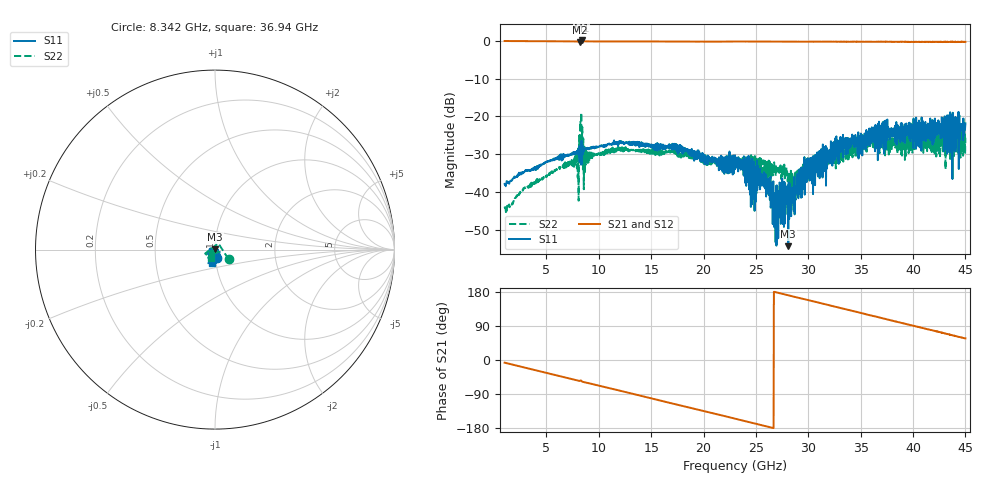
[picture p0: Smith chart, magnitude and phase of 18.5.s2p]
!Keysight Technologies,N5247B,MY61255062,A.19.80.06
!Date: Tuesday, May 26, 2026 11:53:32
!Correction: S11(C  2-Port  )
!S21(C  2-Port  )
!S12(C  2-Port  )
!S22(C  2-Port  )
!S2P File: Measurements: S11, S21, S12, S22:
# Hz S  dB  R 50
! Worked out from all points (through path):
!   1601 points, 1 GHz to 45 GHz, reference 50 ohm
!   highest |S21| = 0.06 dB at 8.342 GHz (marker M1); lowest = -0.4 dB at 8.205 GHz (marker M2)
!   group delay of S21, straight-line fit = 18.7 ps
!   lowest |S11| = -54.3 dB at 28.09 GHz (marker M3), VSWR 1.00, Z = 50 + j0.192 ohm
!   |S11| at or under -10 dB: start of sweep to end of sweep
!   |S22| runs from -45.5 to -19.0 dB; largest |S21 - S12| = 0.017
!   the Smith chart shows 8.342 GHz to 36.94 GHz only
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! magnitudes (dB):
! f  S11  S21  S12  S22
! 1 GHz  -37.9  -0.1  -0.1  -43.9
! 2.98 GHz  -34.3  -0.1  -0.1  -38.9
! 7.848 GHz  -29.9  -0.2  -0.2  -30.0
! 8.205 GHz  -27.9  -0.4  -0.4  -21.6
! 8.342 GHz  -26.8  0.1  0.1  -20.5
! 8.783 GHz  -28.5  -0.2  -0.2  -28.7
! 11.89 GHz  -26.7  -0.2  -0.2  -28.9
! 15.69 GHz  -27.6  -0.2  -0.2  -30.0
! 23 GHz  -30.3  -0.2  -0.2  -32.5
! 24.07 GHz  -38.4  -0.2  -0.2  -31.3
! 24.73 GHz  -32.1  -0.2  -0.2  -31.2
! 25.72 GHz  -38.3  -0.2  -0.2  -35.9
! 26.91 GHz  -38.5  -0.2  -0.2  -33.0
! 27.37 GHz  -48.4  -0.2  -0.2  -34.1
! 28.09 GHz  -54.3  -0.2  -0.2  -35.7
! 28.69 GHz  -45.9  -0.2  -0.3  -35.0
! 29.66 GHz  -40.7  -0.3  -0.3  -34.1
! 30.34 GHz  -31.7  -0.2  -0.3  -34.2
! 33.34 GHz  -30.9  -0.3  -0.3  -32.0
! 37.69 GHz  -25.5  -0.3  -0.2  -30.1
! 43.98 GHz  -20.3  -0.3  -0.4  -28.7
! 45 GHz  -21.8  -0.3  -0.3  -25.7
